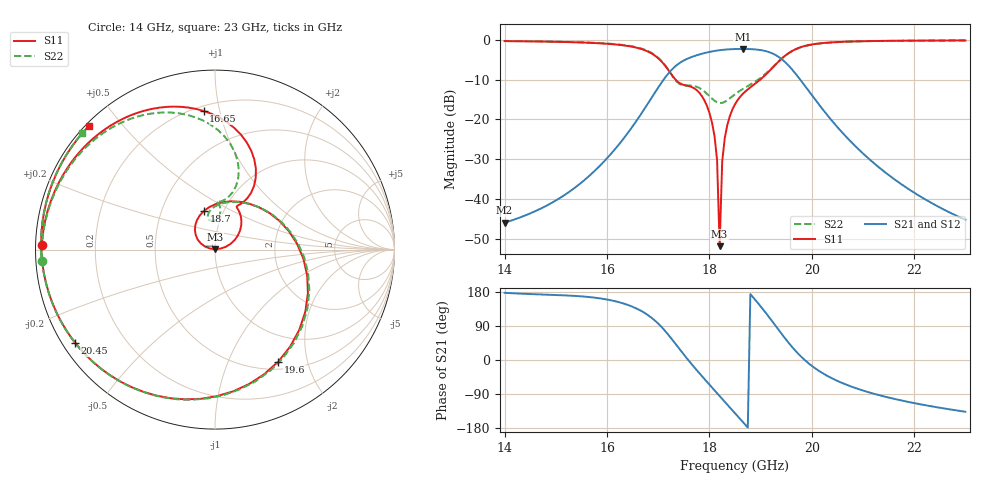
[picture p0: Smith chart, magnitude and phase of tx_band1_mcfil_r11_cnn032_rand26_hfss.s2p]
! Touchstone file exported from HFSS 3D Layout Design 2026.1.0
!  File:  D:/Work/SIM/ADS_AUTO_SIM/projects/RFSOC_RF/TX_Fillter.aedt
!  Generated:  11:51:17 PM Aug 30, 2026
!  Design:  TX_BAND1_MCFIL_R11_CNN032
!  Project:  TX_Fillter
# GHz S MA R 50.000000
! Terminal data exported
! Port[1] = Port1
! Port[2] = Port2
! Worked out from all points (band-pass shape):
!   181 points, 14 GHz to 23 GHz, reference 50 ohm
!   highest |S21| = -2.27 dB at 18.65 GHz (marker M1); lowest = -46.0 dB at 14 GHz (marker M2)
!   |S21| within 3 dB of the highest: 17.49 GHz to 19.45 GHz (1.965 GHz wide, 10.6 % of centre)
!   lowest |S11| = -51.9 dB at 18.2 GHz (marker M3), VSWR 1.01, Z = 50 + j0.253 ohm
!   |S11| at or under -10 dB: 17.34 GHz to 18.99 GHz (1.652 GHz wide, 9.1 % of centre)
!   |S22| runs from -15.9 to -0.1 dB; largest |S21 - S12| = 1.3e-14
!   S11 on the Smith chart (normalised r, x): 14 GHz: 0.02, +0.01; 16.65 GHz: 0.23, +0.89; 18.7 GHz: 0.81, +0.37; 19.6 GHz: 0.60, -1.54; 20.45 GHz: 0.04, -0.30; 23 GHz: 0.01, +0.41
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14  0.966 178.6  0.005019 177.2  0.005019 177.2  0.9682 -176.3
15.5  0.9278 143.0  0.01605 168.0  0.01605 168.0  0.9327 149.9
16.65  0.7748 94.6  0.113 130.8  0.113 130.8  0.7857 104.9
17  0.5875 69.9  0.2518 96.1  0.2518 96.1  0.5969 81.9
17.3  0.3393 57.8  0.4444 49.2  0.4444 49.2  0.3353 72.8
17.6  0.2621 61.7  0.5911 -2.4  0.5911 -2.4  0.267 88.2
18  0.1213 25.8  0.7058 -64.9  0.7058 -64.9  0.1964 82.3
18.15  0.03081 10.3  0.7346 -87.6  0.7346 -87.6  0.1642 89.5
18.2  0.002546 84.2  0.7422 -95.2  0.7422 -95.2  0.1606 93.4
18.25  0.02964 167.3  0.7487 -102.7  0.7487 -102.7  0.1615 97.1
18.35  0.08515 156.8  0.7587 -117.7  0.7587 -117.7  0.1742 101.9
18.5  0.1551 136.2  0.7674 -140.2  0.7674 -140.2  0.2069 100.0
18.65  0.2087 113.8  0.7699 -162.9  0.7699 -162.9  0.2411 89.8
18.7  0.224 106.0  0.7694 -170.5  0.7694 -170.5  0.2521 85.2
18.95  0.3 62.8  0.7525 149.9  0.7525 149.9  0.3156 54.3
19.2  0.4245 14.0  0.6889 107.0  0.6889 107.0  0.4318 13.1
19.4  0.5724 -25.2  0.5806 70.9  0.5806 70.9  0.5728 -23.4
19.6  0.7165 -60.5  0.4356 36.7  0.4356 36.7  0.7126 -57.8
20  0.8764 -111.8  0.2021 -15.5  0.2021 -15.5  0.8717 -109.1
20.45  0.9362 -146.3  0.08714 -52.0  0.08714 -52.0  0.9335 -143.8
21.5  0.9733 170.3  0.02001 -99.1  0.02001 -99.1  0.9729 172.9
23  0.9837 135.6  0.005459 -136.6  0.005459 -136.6  0.9839 138.7
